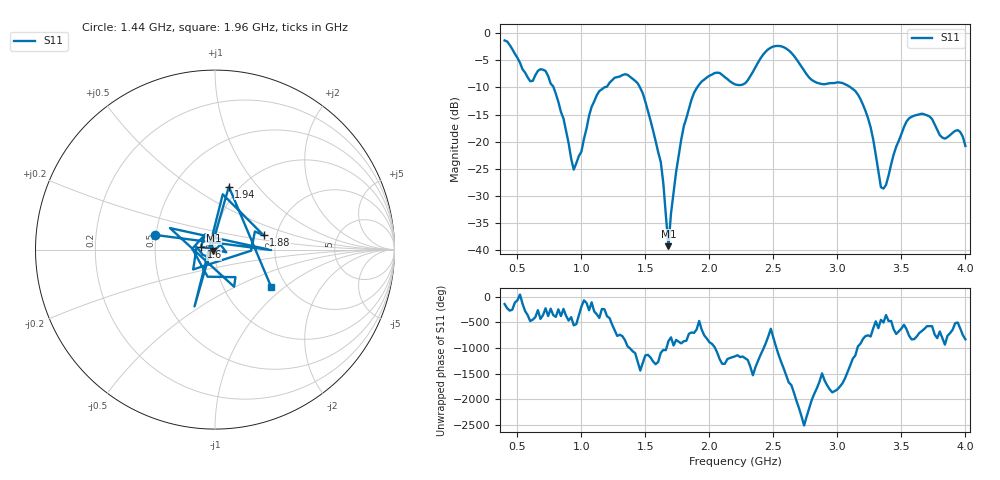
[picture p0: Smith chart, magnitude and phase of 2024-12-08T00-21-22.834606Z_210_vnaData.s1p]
!Created with skrf (http://scikit-rf.org).
# Hz S RI R 50.0
!freq ReS11 ImS11
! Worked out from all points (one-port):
!   181 points, 400 MHz to 4 GHz, reference 50 ohm
!   lowest |S11| = -39.4 dB at 1.68 GHz (marker M1), VSWR 1.02, Z = 49.1 - j0.594 ohm
!   |S11| at or under -10 dB: 782.9 MHz to 1.178 GHz (395 MHz wide, 40.3 % of centre); 1.458 GHz to 1.904 GHz (446.3 MHz wide, 26.5 % of centre); 3.104 GHz to end of sweep
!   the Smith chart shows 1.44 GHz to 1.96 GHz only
!   S11 on the Smith chart (normalised r, x): 1.44 GHz: 0.49, +0.09; 1.6 GHz: 0.85, +0.03; 1.88 GHz: 1.71, +0.29; 1.94 GHz: 0.89, +0.72; 1.96 GHz: 1.67, -0.80
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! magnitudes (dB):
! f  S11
! 400 MHz  -1.3
! 600 MHz  -8.8
! 720 MHz  -6.9
! 860 MHz  -15.7
! 940 MHz  -25.2
! 1.12 GHz  -11.4
! 1.3 GHz  -8.0
! 1.44 GHz  -9.2
! 1.6 GHz  -22.0
! 1.64 GHz  -27.7
! 1.68 GHz  -39.4
! 1.76 GHz  -22.6
! 1.88 GHz  -11.0
! 1.94 GHz  -8.9
! 1.96 GHz  -8.5
! 2.2 GHz  -9.4
! 2.48 GHz  -2.6
! 2.66 GHz  -4.1
! 2.82 GHz  -8.9
! 3.1 GHz  -9.9
! 3.24 GHz  -15.7
! 3.34 GHz  -28.4
! 3.36 GHz  -28.7
! 3.56 GHz  -15.7
! 3.72 GHz  -15.4
! 3.84 GHz  -19.5
! 3.94 GHz  -17.9
! 4 GHz  -20.8
